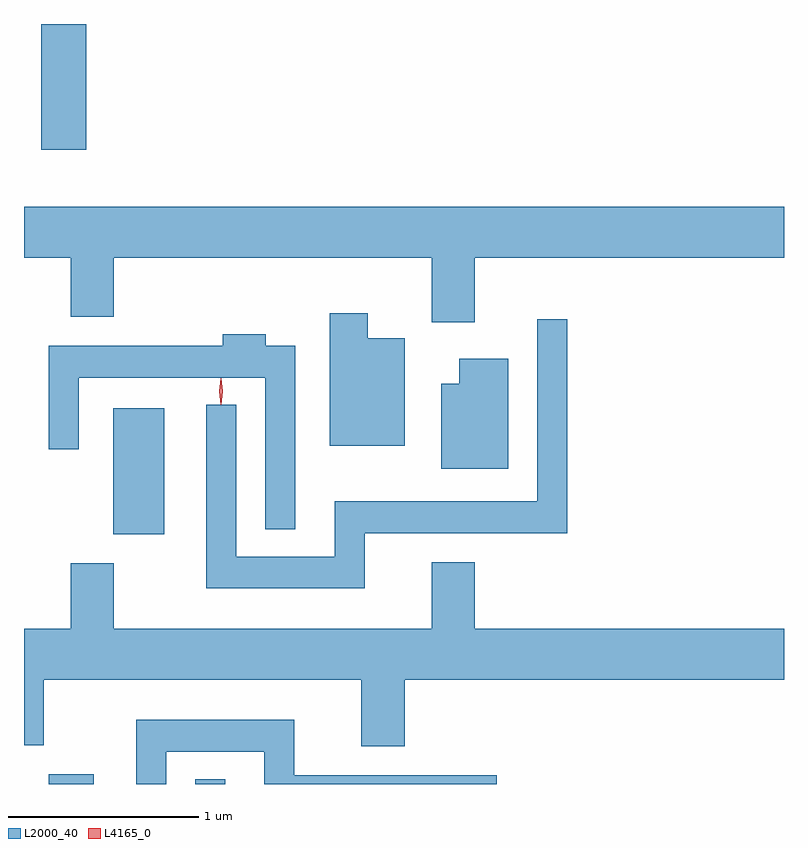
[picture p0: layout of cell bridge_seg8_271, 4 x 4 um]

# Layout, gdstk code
import gdstk
lib = gdstk.Library(unit=1e-6, precision=1e-09)
def R(c, l, rs):  # rectangles x0, y0, x1, y1
    for r in rs: c.add(gdstk.rectangle(r[:2], r[2:], *l))
def P(c, l, *ps):  # polygons
    for p in ps: c.add(gdstk.Polygon(p, *l))
L2000_40 = (2000, 40)
L4165_0 = (4165, 0)

bridge_seg8_271 = lib.new_cell('bridge_seg8_271')
R(bridge_seg8_271, L2000_40, [(1276.456,1820.327,1276.694,1820.379), (1277.226,1820.327,1277.384,1820.353), (1276.796,1821.641,1277.064,1822.304), (1276.416,1823.666,1276.654,1824.327)])
P(bridge_seg8_271, L2000_40, [(1278.699,1823.096),(1280.326,1823.096),(1280.326,1823.364),(1276.326,1823.364),(1276.326,1823.096),(1276.571,1823.096),(1276.571,1822.786),(1276.799,1822.786),(1276.799,1823.096),(1278.471,1823.096),(1278.471,1822.756),(1278.699,1822.756)],
  [(1278.329,1822.674),(1278.134,1822.674),(1278.134,1822.804),(1277.936,1822.804),(1277.936,1822.106),(1278.329,1822.106)],
  [(1278.119,1821.646),(1279.184,1821.646),(1279.184,1822.773),(1279.026,1822.773),(1279.026,1821.814),(1277.961,1821.814),(1277.961,1821.524),(1277.444,1821.524),(1277.444,1822.323),(1277.286,1822.323),(1277.286,1821.356),(1278.119,1821.356)],
  [(1277.754,1822.634),(1277.599,1822.634),(1277.599,1822.694),(1277.371,1822.694),(1277.371,1822.634),(1276.456,1822.634),(1276.456,1822.088),(1276.614,1822.088),(1276.614,1822.466),(1277.596,1822.466),(1277.596,1821.668),(1277.754,1821.668)],
  [(1278.874,1822.564),(1278.616,1822.564),(1278.616,1822.434),(1278.521,1822.434),(1278.521,1821.986),(1278.874,1821.986)],
  [(1278.329,1820.876),(1280.326,1820.876),(1280.326,1821.144),(1278.699,1821.144),(1278.699,1821.494),(1278.471,1821.494),(1278.471,1821.144),(1276.799,1821.144),(1276.799,1821.489),(1276.571,1821.489),(1276.571,1821.144),(1276.326,1821.144),(1276.326,1820.531),(1276.429,1820.531),(1276.429,1820.876),(1278.101,1820.876),(1278.101,1820.526),(1278.329,1820.526)],
  [(1277.074,1820.496),(1277.591,1820.496),(1277.591,1820.327),(1278.814,1820.327),(1278.814,1820.374),(1277.749,1820.374),(1277.749,1820.664),(1276.916,1820.664),(1276.916,1820.327),(1277.074,1820.327)])
P(bridge_seg8_271, L4165_0, [(1277.362,1822.327),(1277.353,1822.394),(1277.362,1822.46),(1277.363,1822.46),(1277.363,1822.46),(1277.373,1822.394),(1277.363,1822.327),(1277.363,1822.327)],
  [(1277.363,1822.323),(1277.362,1822.324),(1277.353,1822.393),(1277.362,1822.462),(1277.363,1822.463),(1277.363,1822.462),(1277.373,1822.393),(1277.363,1822.324)])

lib.write_gds('bridge_seg8_271.gds')
